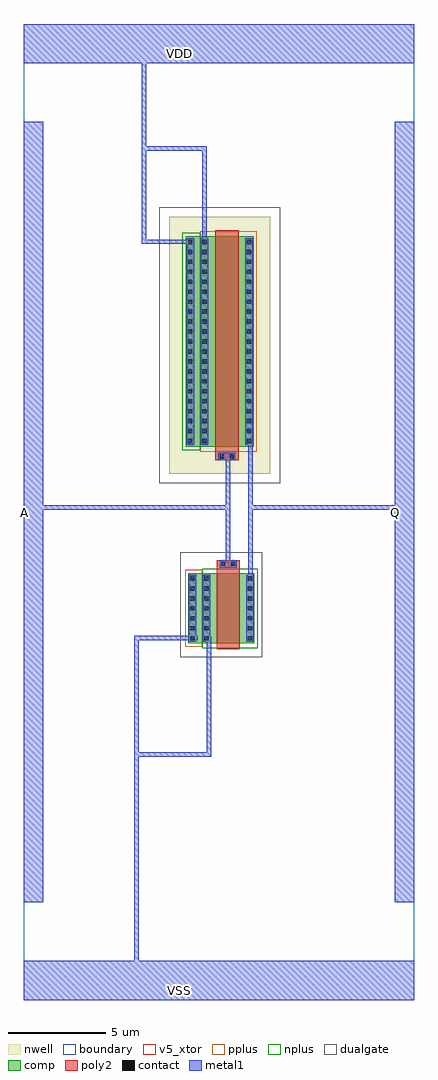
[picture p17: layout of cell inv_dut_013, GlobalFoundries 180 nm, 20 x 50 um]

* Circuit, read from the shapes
.subckt inv_dut_013 A Q VDD VSS
XM1 Q A VSS VSS nfet_05v0 w=3.6u l=1.2u
XM2 Q A VDD VDD pfet_05v0 w=10.8u l=1.2u
.ends

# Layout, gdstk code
from math import pi, radians
import gdstk
lib = gdstk.Library(unit=1e-6, precision=1e-09)
def R(c, l, rs):  # rectangles x0, y0, x1, y1
    for r in rs: c.add(gdstk.rectangle(r[:2], r[2:], *l))
def A(c, l, x, y, w, h, nx, ny, dx, dy):  # array of equal rectangles
    R(c, l, [(x+i*dx, y+j*dy, x+i*dx+w, y+j*dy+h) for i in range(nx) for j in range(ny)])
boundary = (0, 0)
nwell = (21, 0)
comp = (22, 0)
poly2 = (30, 0)
pplus = (31, 0)
nplus = (32, 0)
contact = (33, 0)
metal1 = (34, 0)
dualgate = (55, 0)
v5_xtor = (112, 1)

nfet_24 = lib.new_cell('nfet$24')
R(nfet_24, comp, [(-0.42,0,2.95,3.6)])
R(nfet_24, poly2, [(0.31,-0.66,1.51,3.9)])
R(nfet_24, pplus, [(2.24,-0.17,3.12,3.77)])
R(nfet_24, nplus, [(-0.59,-0.24,2.24,3.84)])
A(nfet_24, contact, -0.32, 0.16, 0.22, 0.22, 1, 7, 0, 0.51)
A(nfet_24, contact, 1.92, 0.16, 0.22, 0.22, 1, 7, 0, 0.51)
A(nfet_24, contact, 2.63, 0.16, 0.22, 0.22, 1, 7, 0, 0.51)
R(nfet_24, contact, [(0.545,-0.59,0.765,-0.37), (1.055,-0.59,1.275,-0.37)])
R(nfet_24, metal1, [(0.465,-0.67,1.355,-0.29), (-0.4,0.08,-0.02,3.52), (1.84,0.08,2.22,3.52), (2.55,0.08,2.93,3.52)])
R(nfet_24, dualgate, [(-0.84,-1.08,3.37,4.31)])
R(nfet_24, v5_xtor, [(-0.84,-1.08,3.37,4.31)])

pfet_22 = lib.new_cell('pfet$22')
R(pfet_22, nwell, [(-1.32,-0.99,3.87,12.17)])
R(pfet_22, comp, [(-0.46,0,3.01,10.8)])
R(pfet_22, poly2, [(0.31,-0.3,1.51,11.48)])
R(pfet_22, pplus, [(-0.63,-0.24,2.28,11.04)])
R(pfet_22, nplus, [(2.28,-0.17,3.18,10.97)])
A(pfet_22, contact, -0.34, 0.19, 0.22, 0.22, 1, 21, 0, 0.51)
A(pfet_22, contact, 1.94, 0.19, 0.22, 0.22, 1, 21, 0, 0.51)
A(pfet_22, contact, 2.67, 0.19, 0.22, 0.22, 1, 21, 0, 0.51)
R(pfet_22, contact, [(0.545,11.18,0.765,11.4), (1.055,11.18,1.275,11.4)])
R(pfet_22, metal1, [(-0.42,0.11,-0.04,10.69), (1.86,0.11,2.24,10.69), (2.59,0.11,2.97,10.69), (0.465,11.1,1.355,11.48)])
R(pfet_22, dualgate, [(-1.82,-1.49,4.37,12.67)])
R(pfet_22, v5_xtor, [(-1.82,-1.49,4.37,12.67)])

inv_dut_013 = lib.new_cell('inv_dut_013')
R(inv_dut_013, boundary, [(-10,-25,10,25)])
R(inv_dut_013, metal1, [(-10,-25,10,-23), (-10,-20,-9,20), (9,-20,10,20), (-10,23,10,25)])
inv_dut_013.add(gdstk.FlexPath([(0.46,2.935),(0.46,-2.615),(0.46,-2.615)], 0.23, ends="flush", simple_path=True, layer=34, datatype=0))  # metal1
inv_dut_013.add(gdstk.FlexPath([(1.605,3.715),(1.605,-3.345),(1.65,-3.345)], 0.23, ends="flush", simple_path=True, layer=34, datatype=0))  # metal1
inv_dut_013.add(gdstk.FlexPath([(-9.395,0.23),(0.46,0.23)], 0.23, ends="flush", simple_path=True, layer=34, datatype=0))  # metal1
inv_dut_013.add(gdstk.FlexPath([(1.65,0.23),(9.395,0.23)], 0.23, ends="flush", simple_path=True, layer=34, datatype=0))  # metal1
inv_dut_013.add(gdstk.FlexPath([(-3.85,23.745),(-3.85,13.845),(-1.515,13.845),(-1.515,13.845),(-1.515,13.845)], 0.23, ends="flush", simple_path=True, layer=34, datatype=0))  # metal1
inv_dut_013.add(gdstk.FlexPath([(-3.805,18.61),(-0.735,18.61),(-0.735,13.8)], 0.23, ends="flush", simple_path=True, layer=34, datatype=0))  # metal1
inv_dut_013.add(gdstk.FlexPath([(-4.215,-23.655),(-4.215,-6.465),(-1.1,-6.465)], 0.23, ends="flush", simple_path=True, layer=34, datatype=0))  # metal1
inv_dut_013.add(gdstk.FlexPath([(-4.125,-12.42),(-0.505,-12.42),(-0.505,-6.37)], 0.23, ends="flush", simple_path=True, layer=34, datatype=0))  # metal1
inv_dut_013.add(gdstk.Reference(nfet_24, (1.385,-3.135), rotation=pi))
inv_dut_013.add(gdstk.Reference(pfet_22, (1.31,14.135), rotation=pi))
inv_dut_013.add(gdstk.Label('VDD', (-2,23.5), layer=34, texttype=10))
inv_dut_013.add(gdstk.Label('VSS', (-2,-24.5), layer=34, texttype=10))
inv_dut_013.add(gdstk.Label('A', (-9.97,0), layer=34, texttype=10))
inv_dut_013.add(gdstk.Label('Q', (9.03,0), layer=34, texttype=10))

lib.write_gds('inv_dut_013.gds')
